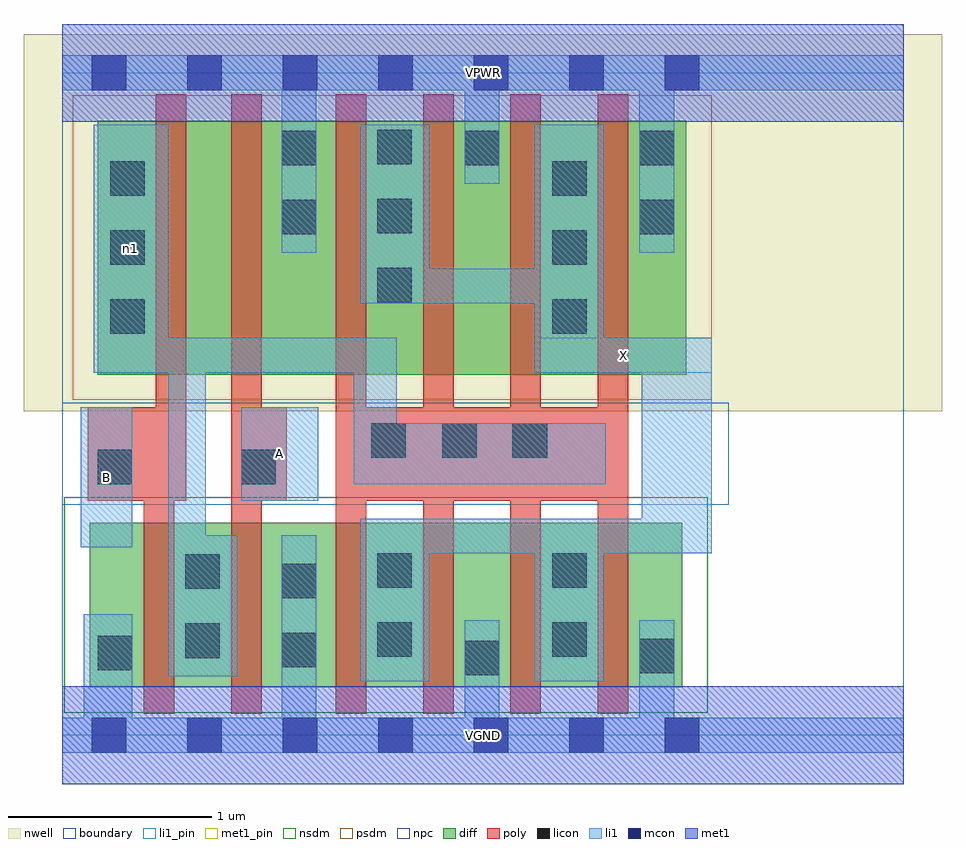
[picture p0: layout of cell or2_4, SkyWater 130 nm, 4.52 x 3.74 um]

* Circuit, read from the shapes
.subckt or2_4 A B VGND VPWR X n1
XM1 n1 B VGND VSUBS sky130_fd_pr__nfet_01v8 w=0.81 l=0.15
XM2 VGND A n1 VSUBS sky130_fd_pr__nfet_01v8 w=0.81 l=0.15
XM3 X n1 VGND VSUBS sky130_fd_pr__nfet_01v8 w=0.81 l=0.15 m=4
XM4 n2 B n1 n3 sky130_fd_pr__pfet_01v8 w=1.25 l=0.15
XM5 VPWR A n2 n3 sky130_fd_pr__pfet_01v8 w=1.25 l=0.15
XM6 X n1 VPWR n3 sky130_fd_pr__pfet_01v8 w=1.25 l=0.15 m=4
.ends

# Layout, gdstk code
import gdstk
lib = gdstk.Library(unit=1e-6, precision=1e-09)
def R(c, l, rs):  # rectangles x0, y0, x1, y1
    for r in rs: c.add(gdstk.rectangle(r[:2], r[2:], *l))
def A(c, l, x, y, w, h, nx, ny, dx, dy):  # array of equal rectangles
    R(c, l, [(x+i*dx, y+j*dy, x+i*dx+w, y+j*dy+h) for i in range(nx) for j in range(ny)])
nwell = (64, 20)
diff = (65, 20)
poly = (66, 20)
licon = (66, 44)
li1_pin = (67, 16)
li1 = (67, 20)
mcon = (67, 44)
met1_pin = (68, 16)
met1 = (68, 20)
nsdm = (93, 44)
psdm = (94, 20)
npc = (95, 20)
boundary = (235, 4)

or2_4 = lib.new_cell('or2_4')
R(or2_4, nwell, [(-0.19,1.595,4.33,3.45), (0,1.595,4.14,3.45)])
R(or2_4, diff, [(0.135,0.235,3.05,1.045), (0.175,1.775,3.07,3.025)])
A(or2_4, poly, 1.345, 0.105, 0.15, 3.05, 4, 1, 0.43, 0)
R(or2_4, poly, [(0.4,0.105,0.55,1.615), (0.83,0.105,0.98,3.155), (0.125,1.155,0.61,1.615), (0.46,1.155,0.61,3.155), (0.83,1.155,1.105,1.615), (1.345,1.155,2.785,1.615)])
A(or2_4, licon, 0.235, 1.975, 0.17, 0.17, 1, 3, 0, 0.34)
A(or2_4, licon, 2.41, 1.975, 0.17, 0.17, 1, 3, 0, 0.34)
A(or2_4, licon, 1.55, 2.13, 0.17, 0.17, 1, 3, 0, 0.34)
R(or2_4, licon, [(1.98,0.295,2.15,0.465), (2.84,0.305,3.01,0.475), (0.175,0.32,0.345,0.49), (1.08,0.335,1.25,0.505), (0.605,0.38,0.775,0.55), (1.55,0.385,1.72,0.555), (2.41,0.385,2.58,0.555), (1.08,0.675,1.25,0.845), (0.605,0.72,0.775,0.89), (1.55,0.725,1.72,0.895), (2.41,0.725,2.58,0.895), (0.175,1.235,0.345,1.405), (0.88,1.235,1.05,1.405), (1.52,1.365,1.69,1.535), (1.87,1.365,2.04,1.535), (2.215,1.365,2.385,1.535), (1.08,2.465,1.25,2.635), (2.84,2.465,3.01,2.635), (1.08,2.805,1.25,2.975), (1.98,2.805,2.15,2.975), (2.84,2.805,3.01,2.975)])
R(or2_4, li1_pin, [(0.09,0.925,0.345,1.615), (0.88,1.155,1.26,1.615), (2.325,1.785,3.195,1.955)])
R(or2_4, li1, [(0,-0.085,4.14,0.085), (0.105,-0.085,0.345,0.595), (1.08,-0.085,1.25,0.985), (1.98,-0.085,2.15,0.565), (2.84,-0.085,3.01,0.565), (1.465,0.265,1.805,1.065), (2.325,0.265,2.665,1.065), (0.52,0.29,0.705,1.955), (0.52,0.29,0.86,0.985), (1.465,0.895,3.195,1.065), (2.85,0.895,3.195,1.955), (0.09,0.925,0.345,1.615), (0.88,1.155,1.26,1.615), (1.435,1.235,2.675,1.535), (1.435,1.235,1.645,1.955), (0.155,1.785,0.52,3.005), (0.155,1.785,1.645,1.955), (2.325,1.785,2.665,3.005), (2.325,1.785,3.195,1.955), (1.465,2.125,1.805,3.005), (1.465,2.125,2.665,2.295), (1.08,2.375,1.25,3.345), (2.84,2.375,3.01,3.345), (1.98,2.715,2.15,3.345), (0,3.175,4.14,3.345)])
A(or2_4, mcon, 0.145, -0.085, 0.17, 0.17, 7, 2, 0.47, 3.26)
R(or2_4, met1_pin, [(0,-0.24,4.14,0.24), (0,3.02,4.14,3.5)])
R(or2_4, met1, [(0,-0.24,4.14,0.24), (0,3.02,4.14,3.5)])
R(or2_4, nsdm, [(0.01,0.11,3.175,1.17)])
R(or2_4, psdm, [(0.05,1.65,3.195,3.15)])
R(or2_4, npc, [(0,1.135,3.28,1.635)])
R(or2_4, boundary, [(0,0,4.14,3.26)])
or2_4.add(gdstk.Label('A', (1.07,1.385), layer=67, texttype=5))
or2_4.add(gdstk.Label('B', (0.217,1.27), layer=67, texttype=5))
or2_4.add(gdstk.Label('X', (2.76,1.87), layer=67, texttype=5))
or2_4.add(gdstk.Label('n1', (0.337,2.395), layer=67, texttype=5))
or2_4.add(gdstk.Label('VPWR', (2.07,3.26), layer=68, texttype=5))
or2_4.add(gdstk.Label('VGND', (2.07,0), layer=68, texttype=5))
or2_4.add(gdstk.Label('A', (1.07,1.385), layer=67, texttype=16))
or2_4.add(gdstk.Label('B', (0.217,1.27), layer=67, texttype=16))
or2_4.add(gdstk.Label('X', (2.76,1.87), layer=67, texttype=16))
or2_4.add(gdstk.Label('VPWR', (2.07,3.26), layer=68, texttype=16))
or2_4.add(gdstk.Label('VGND', (2.07,0), layer=68, texttype=16))

lib.write_gds('or2_4.gds')
